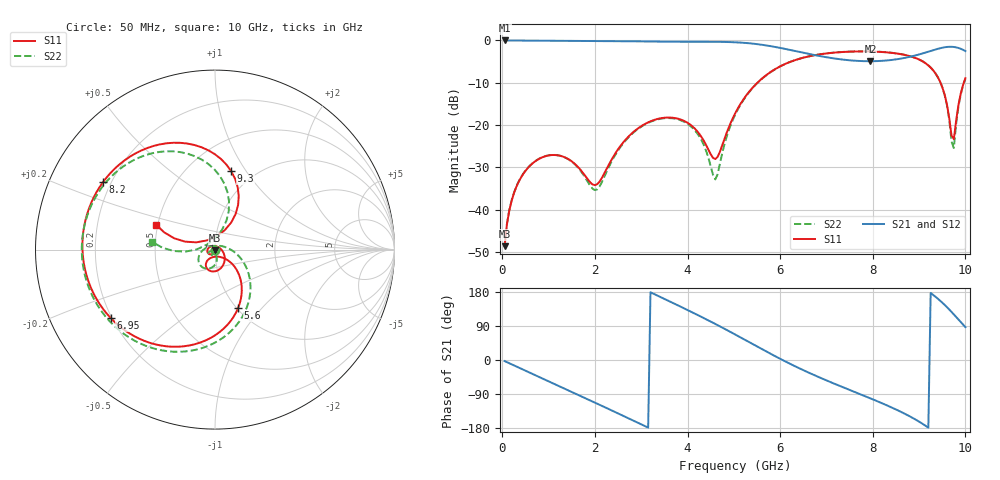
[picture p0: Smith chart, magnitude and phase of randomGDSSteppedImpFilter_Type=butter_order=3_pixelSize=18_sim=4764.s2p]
! freq	dB(S11)	phase(S11)	dB(S12)	phase(S12)
!  dB(S21)	phase(S21)	dB(S22)	phase(S22)
!S-par simulation data
#  GHz  S  DB  R 50
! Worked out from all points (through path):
!   200 points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, 50 MHz to 10 GHz, reference 50 ohm
!   highest |S21| = -0.02 dB at 50 MHz (marker M1); lowest = -4.9 dB at 7.95 GHz (marker M2)
!   group delay of S21, straight-line fit = 166 ps
!   lowest |S11| = -48.7 dB at 50 MHz (marker M3), VSWR 1.01, Z = 50.2 - j0.336 ohm
!   |S11| at or under -10 dB: start of sweep to 5.51 GHz; 9.462 GHz to 9.966 GHz (504.6 MHz wide, 5.19 % of centre)
!   |S22| runs from -48.6 to -2.6 dB; largest |S21 - S12| = 0
!   S11 on the Smith chart (normalised r, x): 50 MHz: 1.00, -0.01; 5.6 GHz: 1.01, -0.75; 6.95 GHz: 0.20, -0.29; 8.2 GHz: 0.17, +0.27; 9.3 GHz: 0.79, +0.86; 10 GHz: 0.49, +0.16
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0.05  -48.65 -64.9  -0.02 -2.9  -0.02 -2.9  -48.61 -64.5
0.25  -36.17 -99.1  -0.04 -14.1  -0.04 -14.1  -36.11 -96.4
0.65  -29.11 -129.5  -0.06 -36.4  -0.06 -36.4  -29.06 -121.5
1.25  -27.28 -172.0  -0.10 -70.0  -0.10 -70.0  -27.28 -149.9
1.75  -31.44 135.5  -0.12 -98.2  -0.12 -98.2  -31.76 -156.8
2.05  -34.00 60.4  -0.13 -115.2  -0.13 -115.2  -35.22 -112.0
2.7  -23.03 -39.8  -0.20 -152.5  -0.20 -152.5  -23.21 -83.3
3.4  -18.46 -87.0  -0.30 167.1  -0.30 167.1  -18.57 -116.6
4.15  -20.78 -123.2  -0.33 122.9  -0.33 122.9  -21.18 -164.1
4.6  -28.06 -83.9  -0.34 95.1  -0.34 95.1  -32.86 93.1
5.05  -16.81 -41.2  -0.46 65.9  -0.46 65.9  -17.09 -15.9
5.6  -9.10 -68.5  -1.03 29.1  -1.03 29.1  -9.14 -57.8
6.7  -3.60 -133.4  -3.38 -37.9  -3.38 -37.9  -3.59 -126.1
6.95  -3.16 -146.8  -3.89 -51.3  -3.89 -51.3  -3.14 -139.3
7.95  -2.63 162.1  -4.93 -101.3  -4.93 -101.3  -2.61 171.5
8.2  -2.75 149.0  -4.84 -114.1  -4.84 -114.1  -2.73 159.1
8.35  -2.88 140.9  -4.70 -122.1  -4.70 -122.1  -2.86 151.4
9.3  -7.03 78.2  -2.33 172.3  -2.33 172.3  -7.02 90.3
9.55  -12.76 59.9  -1.64 145.7  -1.64 145.7  -12.82 70.4
9.75  -23.34 131.2  -1.56 120.4  -1.56 120.4  -25.46 149.4
9.85  -15.28 165.1  -1.80 106.9  -1.80 106.9  -15.63 -176.1
10  -8.93 157.0  -2.53 86.7  -2.53 86.7  -9.05 173.0
